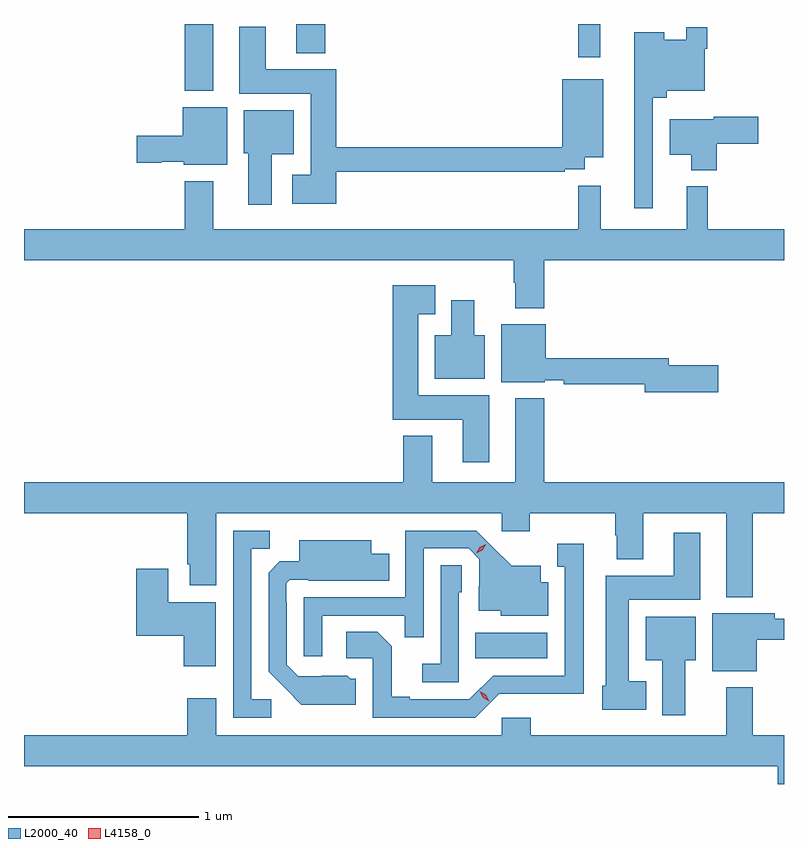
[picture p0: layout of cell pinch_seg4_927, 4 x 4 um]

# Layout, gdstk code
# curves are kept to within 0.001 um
import gdstk
lib = gdstk.Library(unit=1e-6, precision=1e-09)
def R(c, l, rs):  # rectangles x0, y0, x1, y1
    for r in rs: c.add(gdstk.rectangle(r[:2], r[2:], *l))
def P(c, l, *ps):  # polygons
    for p in ps: c.add(gdstk.Polygon(p, *l))
L2000_40 = (2000, 40)
L4158_0 = (4158, 0)

pinch_seg4_927 = lib.new_cell('pinch_seg4_927')
R(pinch_seg4_927, L2000_40, [(654.85,798.722,655.231,798.856), (653.321,801.707,653.473,802.059), (655.393,801.885,655.51,802.059), (653.909,801.905,654.062,802.059)])
P(pinch_seg4_927, L2000_40, [(654.119,801.282),(655.322,801.282),(655.322,801.294),(655.426,801.294),(655.426,801.359),(655.525,801.359),(655.525,801.769),(655.31,801.769),(655.31,801.41),(654.119,801.41),(654.119,801.82),(653.749,801.82),(653.749,802.045),(653.609,802.045),(653.609,801.692),(653.984,801.692),(653.984,801.265),(653.889,801.265),(653.889,801.113),(654.119,801.113)],
  [(655.785,801.671),(655.859,801.671),(655.859,801.707),(656.058,801.707),(656.058,801.929),(656.071,801.929),(656.071,802.042),(655.962,802.042),(655.962,801.976),(655.846,801.976),(655.846,802.015),(655.688,802.015),(655.688,801.09),(655.785,801.09)],
  [(653.545,801.622),(653.312,801.622),(653.312,801.47),(653.07,801.47),(653.07,801.328),(653.199,801.328),(653.199,801.335),(653.316,801.335),(653.316,801.317),(653.545,801.317)],
  [(653.779,801.374),(653.896,801.374),(653.896,801.604),(653.633,801.604),(653.633,801.378),(653.657,801.378),(653.657,801.108),(653.779,801.108)],
  [(656.123,801.43),(656.341,801.43),(656.341,801.572),(656.106,801.572),(656.106,801.559),(655.874,801.559),(655.874,801.371),(655.988,801.371),(655.988,801.29),(656.123,801.29)],
  [(655.214,800.816),(656.476,800.816),(656.476,800.98),(656.074,800.98),(656.074,801.205),(655.964,801.205),(655.964,800.98),(655.511,800.98),(655.511,801.209),(655.393,801.209),(655.393,800.98),(653.473,800.98),(653.473,801.232),(653.321,801.232),(653.321,800.98),(652.476,800.98),(652.476,800.816),(655.054,800.816),(655.054,800.696),(655.061,800.696),(655.061,800.564),(655.214,800.564)],
  [(654.925,800.104),(654.55,800.104),(654.55,800.531),(654.64,800.531),(654.64,800.683),(654.416,800.683),(654.416,799.976),(654.785,799.976),(654.785,799.752),(654.925,799.752)],
  [(654.901,800.422),(654.847,800.422),(654.847,800.605),(654.725,800.605),(654.725,800.422),(654.638,800.422),(654.638,800.192),(654.901,800.192)],
  [(656.131,800.264),(655.87,800.264),(655.87,800.3),(655.222,800.3),(655.222,800.479),(654.989,800.479),(654.989,800.174),(655.218,800.174),(655.218,800.184),(655.318,800.184),(655.318,800.164),(655.742,800.164),(655.742,800.122),(656.131,800.122)],
  [(656.311,799.484),(656.476,799.484),(656.476,799.648),(655.214,799.648),(655.214,800.089),(655.061,800.089),(655.061,799.648),(654.625,799.648),(654.625,799.891),(654.473,799.891),(654.473,799.648),(652.476,799.648),(652.476,799.484),(653.336,799.484),(653.336,799.216),(653.348,799.216),(653.348,799.104),(653.488,799.104),(653.488,799.484),(654.99,799.484),(654.99,799.389),(655.137,799.389),(655.137,799.484),(655.588,799.484),(655.588,799.368),(655.595,799.368),(655.595,799.241),(655.735,799.241),(655.735,799.484),(656.171,799.484),(656.171,799.043),(656.311,799.043)],
  [(653.776,798.504),(653.673,798.504),(653.673,799.297),(653.769,799.297),(653.769,799.392),(653.577,799.392),(653.577,798.408),(653.776,798.408)],
  [(654.045,798.945),(654.481,798.945),(654.481,798.832),(654.579,798.832),(654.579,799.299),(654.816,799.299),(654.873,799.242),(654.873,799.1),(654.869,799.1),(654.869,798.971),(654.984,798.971),(654.984,798.944),(655.234,798.944),(655.234,799.12),(655.195,799.12),(655.195,799.207),(655.043,799.207),(654.856,799.392),(654.483,799.392),(654.483,799.041),(653.949,799.041),(653.949,798.732),(654.045,798.732)],
  [(655.75,798.601),(655.66,798.601),(655.66,799.028),(656.035,799.028),(656.035,799.381),(655.895,799.381),(655.895,799.156),(655.538,799.156),(655.538,798.576),(655.52,798.576),(655.52,798.449),(655.75,798.449)],
  [(654.223,798.612),(654.192,798.612),(654.176,798.628),(653.919,798.627),(653.859,798.687),(653.859,799.016),(653.856,799.016),(653.856,799.116),(653.874,799.134),(653.974,799.134),(653.974,799.13),(654.398,799.13),(654.398,799.27),(654.304,799.27),(654.304,799.342),(653.924,799.342),(653.924,799.231),(653.822,799.231),(653.763,799.172),(653.763,798.65),(653.935,798.476),(654.223,798.476)],
  [(654.978,798.534),(655.423,798.533),(655.423,799.324),(655.283,799.324),(655.283,799.203),(655.322,799.203),(655.322,798.63),(654.945,798.63),(654.819,798.504),(654.505,798.504),(654.505,798.517),(654.411,798.517),(654.411,798.784),(654.335,798.86),(654.171,798.86),(654.171,798.72),(654.312,798.72),(654.312,798.408),(654.852,798.408)],
  [(654.765,799.068),(654.78,799.068),(654.78,799.211),(654.669,799.211),(654.669,798.691),(654.573,798.691),(654.573,798.594),(654.765,798.594)],
  [(653.485,799.015),(653.236,799.015),(653.236,799.192),(653.066,799.192),(653.066,798.839),(653.318,798.839),(653.318,798.678),(653.485,798.678)],
  [(656.332,798.819),(656.476,798.819),(656.476,798.929),(656.428,798.929),(656.428,798.958),(656.099,798.958),(656.099,798.653),(656.332,798.653)],
  [(655.957,798.71),(656.011,798.71),(656.011,798.94),(655.748,798.94),(655.748,798.71),(655.835,798.71),(655.835,798.42),(655.957,798.42)],
  [(656.476,798.316),(656.311,798.316),(656.311,798.568),(656.171,798.568),(656.171,798.316),(655.142,798.316),(655.142,798.409),(654.99,798.409),(654.99,798.316),(653.488,798.316),(653.488,798.511),(653.336,798.511),(653.336,798.316),(652.476,798.316),(652.476,798.152),(656.444,798.152),(656.444,798.059),(656.476,798.059)])
P(pinch_seg4_927, L4158_0, [(654.925,798.495),(654.893,798.514),(654.875,798.546),(654.875,798.547),(654.875,798.547),(654.907,798.528),(654.925,798.495),(654.925,798.495)],
  [(654.857,799.274),(654.857,799.274),(654.874,799.304),(654.905,799.32),(654.905,799.32),(654.905,799.319),(654.888,799.29),(654.857,799.274)])

lib.write_gds('pinch_seg4_927.gds')
